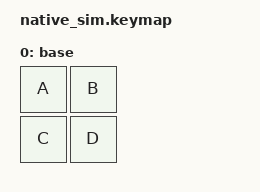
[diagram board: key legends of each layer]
/*
 * Copyright (c) 2026 amgskobo
 * SPDX-License-Identifier: MIT
 */

#include <behaviors.dtsi>
#include <physical_layouts.dtsi>
#include <dt-bindings/zmk/matrix_transform.h>
#include <dt-bindings/zmk/keys.h>

/ {
    physical_layout {
        compatible = "zmk,physical-layout";
        display-name = "Test";
        transform = <&transform>;
        keys = <&key_physical_attrs 100 100 0 0 0 0 0>,
               <&key_physical_attrs 100 100 100 0 0 0 0>,
               <&key_physical_attrs 100 100 0 100 0 0 0>,
               <&key_physical_attrs 100 100 100 100 0 0 0>;
    };
    transform: transform {
        compatible = "zmk,matrix-transform";
        rows = <2>; columns = <2>;
        map = <RC(0,0) RC(0,1) RC(1,0) RC(1,1)>;
    };
    keymap {
        compatible = "zmk,keymap";

        base {
            bindings = <&kp A &kp B &kp C &kp D>;
        };
    };

    inertia_test: inertia_test {
        compatible = "zmk,input-processor-inertia";
        #input-processor-cells = <0>;
        trigger-ms = <35>;
        move-decay-factor-int = <90>;
        move-report-interval-ms = <35>;
        move-threshold-start = <15>;
        move-threshold-stop = <1>;
        scroll-decay-factor-int = <85>;
        scroll-report-interval-ms = <65>;
        scroll-threshold-start = <2>;
        scroll-threshold-stop = <0>;
        cancel-scroll-inertia-on-ctrl;
    };
};

&kscan {
    events = <>;
};
